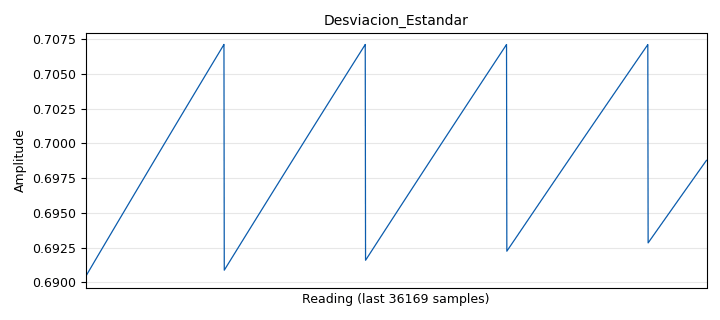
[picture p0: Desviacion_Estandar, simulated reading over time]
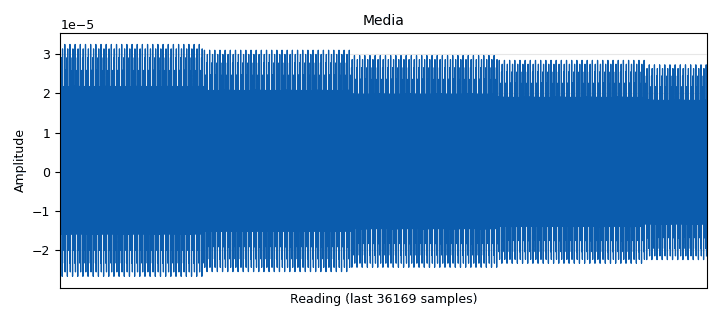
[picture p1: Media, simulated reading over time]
options:
  parameters:
    generate_options: qt_gui
    id: Estadistica
    output_language: python
    title: Not titled yet
  states: {}

blocks:
- name: samp_rate
  id: variable
  parameters:
    value: '32000'
  states: {}
- name: Desviacion_Estandar
  id: qtgui_number_sink
  parameters:
    graph_type: qtgui.NUM_GRAPH_HORIZ
    type: float
  states: {}
- name: Media
  id: qtgui_number_sink
  parameters:
    graph_type: qtgui.NUM_GRAPH_HORIZ
    type: float
  states: {}
- name: Media_Cuadratica
  id: qtgui_number_sink
  parameters:
    graph_type: qtgui.NUM_GRAPH_HORIZ
    type: float
  states: {}
- name: Potencia_Promedio
  id: qtgui_number_sink
  parameters:
    graph_type: qtgui.NUM_GRAPH_HORIZ
    type: float
  states: {}
- name: RMS
  id: qtgui_number_sink
  parameters:
    graph_type: qtgui.NUM_GRAPH_HORIZ
    type: float
  states: {}
- name: analog_sig_source_x_0
  id: analog_sig_source_x
  parameters:
    amp: '1'
    freq: '1000'
    offset: '0'
    phase: '0'
    samp_rate: samp_rate
    type: float
    waveform: analog.GR_COS_WAVE
  states: {}
- name: epy_block_0
  id: epy_block
  parameters:
    _source_code: |
      import numpy as np
      from gnuradio import gr

      class blk(gr.sync_block):
          def __init__(self):
              gr.sync_block.__init__(
                  self,
                  name='Promedios_de_tiempos_ESTADISTICA',
                  in_sig=[np.float32],
                  out_sig=[np.float32, np.float32, np.float32, np.float32, np.float32]
              )
              self.acum_anterior = 0
              self.Ntotales = 0
              self.acum_anterior1 = 0
              self.acum_anterior2 = 0

          def work(self, input_items, output_items):
              x = input_items[0]  # Señal de entrada.
              N = len(x)

              # Salidas
              y0 = output_items[0]  # Promedio de la señal
              y1 = output_items[1]  # Media cuadrática de la señal
              y2 = output_items[2]  # RMS de la señal
              y3 = output_items[3]  # Potencia promedio de la señal
              y4 = output_items[4]  # Desviación estándar de la señal

              # Actualización del total de muestras
              self.Ntotales += N

              # Cálculo del promedio
              acumulado = self.acum_anterior + np.cumsum(x)
              self.acum_anterior = acumulado[-1]
              y0[:] = acumulado / self.Ntotales

              # Cálculo de la media cuadrática
              x2 = np.multiply(x, x)
              acumulado1 = self.acum_anterior1 + np.cumsum(x2)
              self.acum_anterior1 = acumulado1[-1]
              y1[:] = acumulado1 / self.Ntotales

              # Cálculo de la RMS
              y2[:] = np.sqrt(y1)

              # Cálculo de la potencia promedio
              y3[:] = np.multiply(y2, y2)

              # Cálculo de la desviación estándar
              x3 = np.multiply(x - y0, x - y0)
              acumulado2 = self.acum_anterior2 + np.cumsum(x3)
              self.acum_anterior2 = acumulado2[-1]
              y4[:] = np.sqrt(acumulado2 / self.Ntotales)

              return len(x)
  states: {}

connections:
- [analog_sig_source_x_0, '0', epy_block_0, '0']
- [epy_block_0, '0', Media, '0']
- [epy_block_0, '1', Media_Cuadratica, '0']
- [epy_block_0, '2', RMS, '0']
- [epy_block_0, '3', Potencia_Promedio, '0']
- [epy_block_0, '4', Desviacion_Estandar, '0']

metadata:
  file_format: 1
  grc_version: v3.10.11.0-89-ga17f69e7
